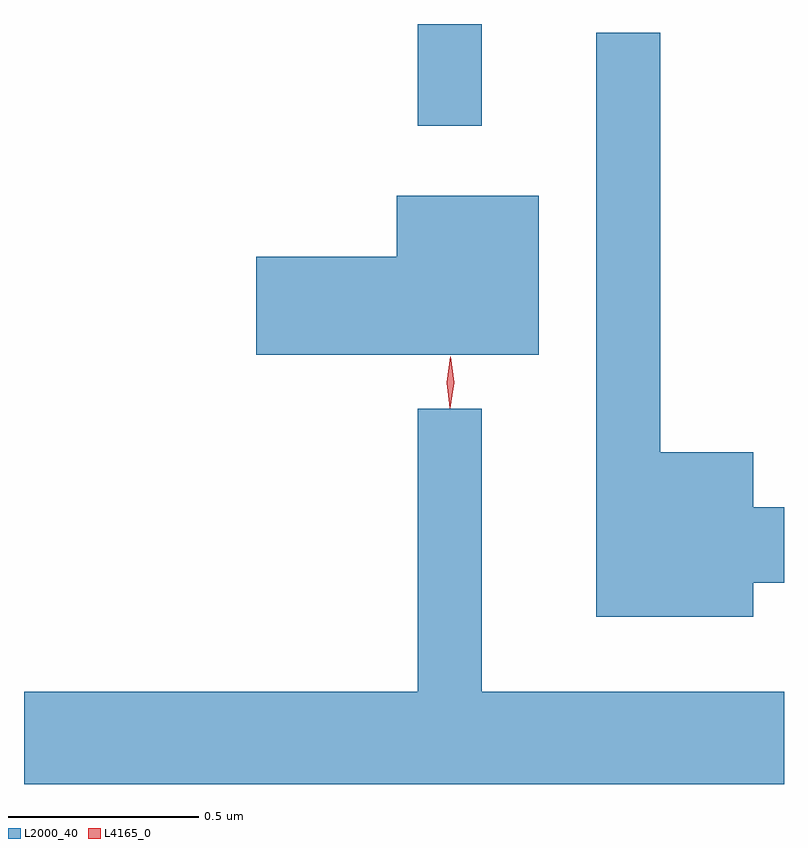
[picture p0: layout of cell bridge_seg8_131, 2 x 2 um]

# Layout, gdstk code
import gdstk
lib = gdstk.Library(unit=1e-6, precision=1e-09)
def R(c, l, rs):  # rectangles x0, y0, x1, y1
    for r in rs: c.add(gdstk.rectangle(r[:2], r[2:], *l))
def P(c, l, *ps):  # polygons
    for p in ps: c.add(gdstk.Polygon(p, *l))
L2000_40 = (2000, 40)
L4165_0 = (4165, 0)

bridge_seg8_131 = lib.new_cell('bridge_seg8_131')
R(bridge_seg8_131, L2000_40, [(1681.291,1853.713,1681.459,1853.981)])
P(bridge_seg8_131, L2000_40, [(1682.174,1852.511),(1682.255,1852.511),(1682.255,1852.709),(1682.174,1852.709),(1682.174,1852.854),(1681.929,1852.854),(1681.929,1853.958),(1681.761,1853.958),(1681.761,1852.421),(1682.174,1852.421)],
  [(1681.609,1853.529),(1681.236,1853.529),(1681.236,1853.369),(1680.866,1853.369),(1680.866,1853.111),(1681.609,1853.111)],
  [(1682.255,1852.224),(1681.459,1852.224),(1681.459,1852.968),(1681.291,1852.968),(1681.291,1852.224),(1680.255,1852.224),(1680.255,1851.981),(1682.255,1851.981)])
P(bridge_seg8_131, L4165_0, [(1681.376,1852.973),(1681.376,1852.973),(1681.367,1853.036),(1681.377,1853.099),(1681.378,1853.1),(1681.378,1853.099),(1681.387,1853.036),(1681.377,1852.973)],
  [(1681.376,1852.97),(1681.376,1852.97),(1681.367,1853.038),(1681.377,1853.106),(1681.378,1853.106),(1681.378,1853.106),(1681.387,1853.038),(1681.377,1852.97)])

lib.write_gds('bridge_seg8_131.gds')
